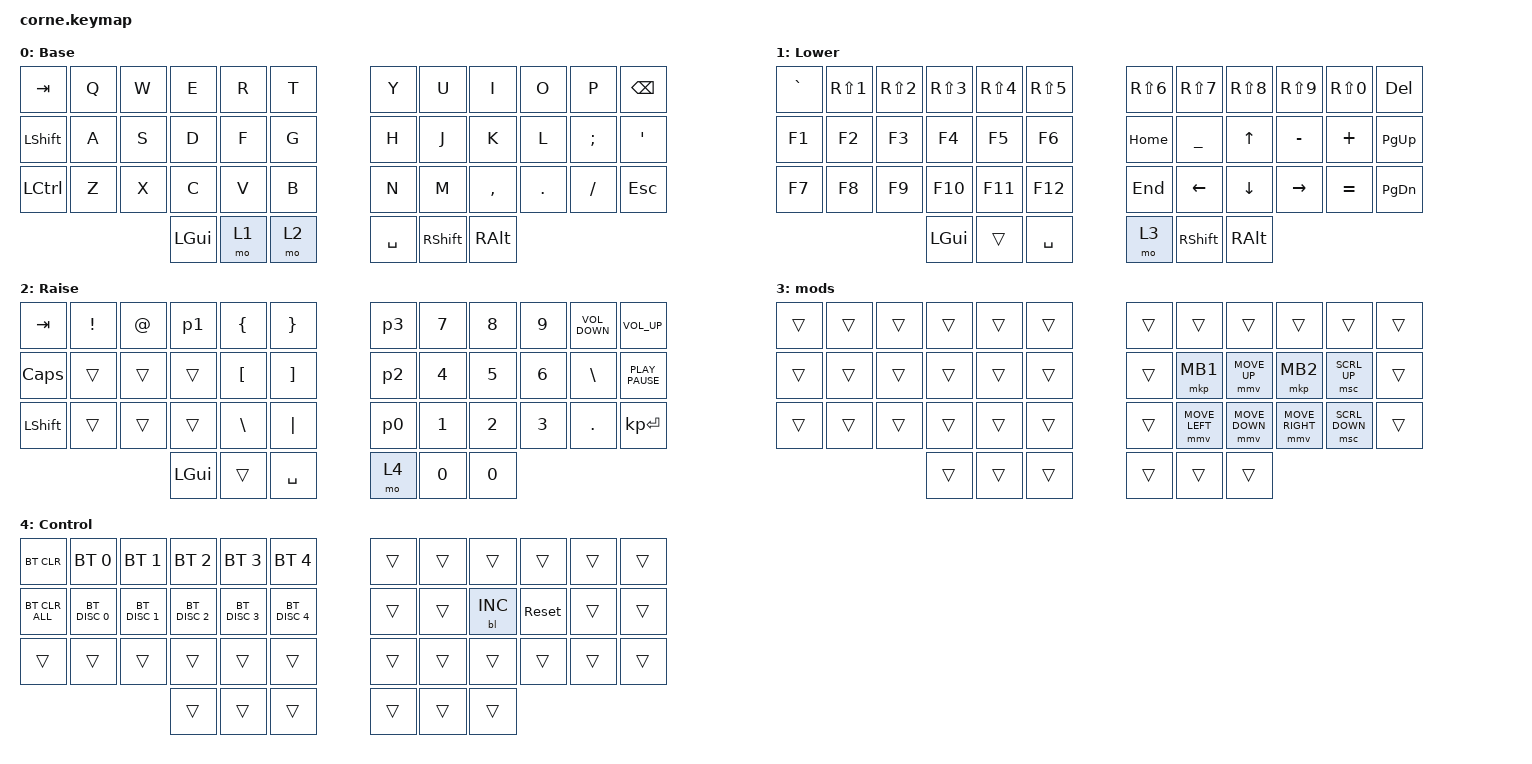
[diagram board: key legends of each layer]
/*
 * Copyright (c) 2020 The ZMK Contributors
 *
 * SPDX-License-Identifier: MIT
 */

#include <behaviors.dtsi>
#include <dt-bindings/zmk/backlight.h>
#include <dt-bindings/zmk/bt.h>
#include <dt-bindings/zmk/keys.h>
#include <dt-bindings/zmk/pointing.h>

/ {
    macros {
        p0: p0 {
            compatible = "zmk,behavior-macro";
            #binding-cells = <0>;
            bindings = <&none &kp PRCNT &kp H &kp LS(W) &kp K &kp N4 &kp LS(I) &kp LS(L) &kp LS(E) &kp Z &kp J &kp N8 &kp N4 &kp U &kp N7 &kp Y &kp LS(P) &kp EXCL>;
            label = "P0";
        };

        p1: p1 {
            compatible = "zmk,behavior-macro";
            #binding-cells = <0>;
            bindings = <&none &kp LS(M) &kp O &kp N9 &kp N5 &kp N9 &kp N5 &kp LS(B) &kp STAR>;
            label = "P1";
        };

        p2: p2 {
            compatible = "zmk,behavior-macro";
            #binding-cells = <0>;
            bindings = <&none &kp A &kp N9 &kp N5 &kp M &kp A &kp C &kp D &kp O &kp N &kp A &kp L &kp D &kp AT &kp G &kp M &kp A &kp I &kp L &kp DOT &kp C &kp O &kp M>;
            label = "P2";
        };

        p3: p3 {
            compatible = "zmk,behavior-macro";
            #binding-cells = <0>;
            bindings = <&none &kp S &kp U &kp D &kp O &kp SPACE &kp P &kp A &kp C &kp M &kp A &kp N &kp SPACE &kp MINUS &kp LS(S)>;
            label = "P3";
        };
    };

    keymap {
        compatible = "zmk,keymap";

        default_layer {
            // -----------------------------------------------------------------------------------------
            // |  TAB |  Q  |  W  |  E  |  R  |  T  |   |  Y  |  U   |  I  |  O  |  P  | BKSP |
            // | CTRL |  A  |  S  |  D  |  F  |  G  |   |  H  |  J   |  K  |  L  |  ;  |  '   |
            // | SHFT |  Z  |  X  |  C  |  V  |  B  |   |  N  |  M   |  ,  |  .  |  /  | ESC  |
            //                    | GUI | LWR | SPC |   | ENT | RSE  | ALT |

            display-name = "Base";
            bindings = <
&kp TAB           &kp Q  &kp W  &kp E     &kp R  &kp T    &kp Y      &kp U            &kp I      &kp O    &kp P     &kp BSPC
&kp LEFT_SHIFT    &kp A  &kp S  &kp D     &kp F  &kp G    &kp H      &kp J            &kp K      &kp L    &kp SEMI  &kp SQT
&kp LEFT_CONTROL  &kp Z  &kp X  &kp C     &kp V  &kp B    &kp N      &kp M            &kp COMMA  &kp DOT  &kp FSLH  &kp ESC
                                &kp LGUI  &mo 1  &mo 2    &kp SPACE  &kp RIGHT_SHIFT  &kp RALT
            >;
        };

        lower_layer {
            // -----------------------------------------------------------------------------------------
            // |  TAB |  1  |  2  |  3  |  4  |  5  |   |  6  |  7  |  8  |  9  |  0  | BKSP |
            // | BTCLR| BT1 | BT2 | BT3 | BT4 | BT5 |   | LFT | DWN |  UP | RGT |     |      |
            // | SHFT |     |     |     |     |     |   |     |     |     |     |     |      |
            //                    | GUI |     | SPC |   | ENT |     | ALT |

            display-name = "Lower";
            bindings = <
&kp GRAVE  &kp RS(N1)  &kp RS(N2)  &kp RS(N3)  &kp RS(N4)  &kp RS(N5)    &kp RS(N6)  &kp RS(N7)       &kp RS(N8)  &kp RS(N9)  &kp RS(N0)  &kp DELETE
&kp F1     &kp F2      &kp F3      &kp F4      &kp F5      &kp F6        &kp HOME    &kp UNDERSCORE   &kp UP      &kp MINUS   &kp PLUS    &kp PAGE_UP
&kp F7     &kp F8      &kp F9      &kp F10     &kp F11     &kp F12       &kp END     &kp LEFT         &kp DOWN    &kp RIGHT   &kp EQUAL   &kp PAGE_DOWN
                                   &kp LGUI    &trans      &kp SPACE     &mo 3       &kp RIGHT_SHIFT  &kp RALT
            >;
        };

        raise_layer {
            // -----------------------------------------------------------------------------------------
            // |  TAB |  !  |  @  |  #  |  $  |  %  |   |  ^  |  &  |  *  |  (  |  )  | BKSP |
            // | CTRL |     |     |     |     |     |   |  -  |  =  |  [  |  ]  |  \  |  `   |
            // | SHFT |     |     |     |     |     |   |  _  |  +  |  {  |  }  | "|" |  ~   |
            //                    | GUI |     | SPC |   | ENT |     | ALT |

            display-name = "Raise";
            bindings = <
&kp TAB    &kp EXCL  &kp AT  &p1       &kp LEFT_BRACE    &kp RIGHT_BRACE      &p3    &kp N7        &kp NUMBER_8  &kp N9        &kp C_VOLUME_DOWN  &kp C_VOLUME_UP
&kp CAPS   &trans    &trans  &trans    &kp LEFT_BRACKET  &kp RIGHT_BRACKET    &p2    &kp NUMBER_4  &kp N5        &kp NUMBER_6  &kp BSLH           &kp K_PLAY_PAUSE
&kp LSHFT  &trans    &trans  &trans    &kp BACKSLASH     &kp PIPE             &p0    &kp NUMBER_1  &kp NUMBER_2  &kp NUMBER_3  &kp PERIOD         &kp KP_ENTER
                             &kp LGUI  &trans            &kp SPACE            &mo 4  &kp N0        &kp N0
            >;
        };

        mods {
            bindings = <
&trans  &trans  &trans  &trans  &trans  &trans    &trans  &trans          &trans          &trans           &trans          &trans
&trans  &trans  &trans  &trans  &trans  &trans    &trans  &mkp MB1        &mmv MOVE_UP    &mkp MB2         &msc SCRL_UP    &trans
&trans  &trans  &trans  &trans  &trans  &trans    &trans  &mmv MOVE_LEFT  &mmv MOVE_DOWN  &mmv MOVE_RIGHT  &msc SCRL_DOWN  &trans
                        &trans  &trans  &trans    &trans  &trans          &trans
            >;
        };

        Control {
            bindings = <
&bt BT_CLR      &bt BT_SEL 0   &bt BT_SEL 1   &bt BT_SEL 2   &bt BT_SEL 3   &bt BT_SEL 4     &trans  &trans  &trans      &trans      &trans  &trans
&bt BT_CLR_ALL  &bt BT_DISC 0  &bt BT_DISC 1  &bt BT_DISC 2  &bt BT_DISC 3  &bt BT_DISC 4    &trans  &trans  &bl BL_INC  &sys_reset  &trans  &trans
&trans          &trans         &trans         &trans         &trans         &trans           &trans  &trans  &trans      &trans      &trans  &trans
                                              &trans         &trans         &trans           &trans  &trans  &trans
            >;
        };
    };
};
